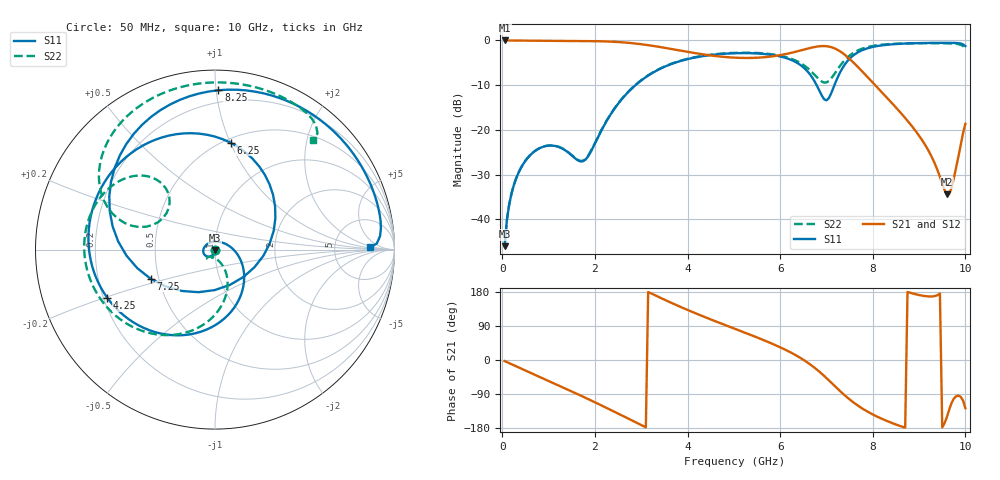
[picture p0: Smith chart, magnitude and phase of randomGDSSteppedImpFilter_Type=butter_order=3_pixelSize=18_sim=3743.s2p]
! freq	dB(S11)	phase(S11)	dB(S12)	phase(S12)
!  dB(S21)	phase(S21)	dB(S22)	phase(S22)
!S-par simulation data
#  GHz  S  DB  R 50
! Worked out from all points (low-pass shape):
!   200 points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, 50 MHz to 10 GHz, reference 50 ohm
!   highest |S21| = -0.01 dB at 50 MHz (marker M1); lowest = -34.5 dB at 9.6 GHz (marker M2)
!   |S21| within 3 dB of the highest: start of sweep to 4.265 GHz; 6.141 GHz to 7.371 GHz (1.23 GHz wide, 18.2 % of centre)
!   lowest |S11| = -46.0 dB at 50 MHz (marker M3), VSWR 1.01, Z = 50 - j0.499 ohm
!   |S11| at or under -10 dB: start of sweep to 2.877 GHz; 6.787 GHz to 7.173 GHz (385.8 MHz wide, 5.53 % of centre)
!   |S22| runs from -46.0 to -0.6 dB; largest |S21 - S12| = 0
!   S11 on the Smith chart (normalised r, x): 50 MHz: 1.00, -0.01; 4.25 GHz: 0.22, -0.20; 6.25 GHz: 0.54, +1.00; 7.25 GHz: 0.45, -0.17; 8.25 GHz: 0.12, +1.01; 10 GHz: 14, +1
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0.05  -46.03 -88.8  -0.01 -2.8  -0.01 -2.8  -46.02 -87.5
0.15  -36.65 -98.7  -0.02 -8.3  -0.02 -8.3  -36.62 -95.0
0.25  -32.35 -106.2  -0.03 -13.8  -0.03 -13.8  -32.31 -100.0
0.6  -25.70 -131.3  -0.06 -33.1  -0.06 -33.1  -25.66 -115.3
1.1  -23.55 -170.4  -0.09 -60.6  -0.09 -60.6  -23.51 -131.9
1.75  -27.01 84.7  -0.13 -97.1  -0.13 -97.1  -26.87 -100.3
2.65  -12.31 -48.2  -0.47 -150.4  -0.47 -150.4  -12.24 -74.5
3.4  -6.39 -103.3  -1.46 164.9  -1.46 164.9  -6.33 -108.2
4.25  -3.65 -155.8  -2.98 119.4  -2.98 119.4  -3.57 -145.8
5.05  -2.86 159.6  -3.87 81.0  -3.87 81.0  -2.77 -176.8
5.75  -3.14 118.6  -3.67 47.1  -3.67 47.1  -3.01 157.6
6.25  -4.41 81.7  -2.75 18.5  -2.75 18.5  -4.13 139.2
6.7  -8.42 27.5  -1.56 -16.3  -1.56 -16.3  -7.22 128.8
7  -13.41 -67.1  -1.30 -47.7  -1.30 -47.7  -9.40 148.8
7.25  -8.09 -155.7  -2.16 -77.0  -2.16 -77.0  -6.31 164.0
7.6  -3.20 146.8  -5.11 -113.5  -5.11 -113.5  -2.66 150.9
7.9  -1.71 115.7  -8.33 -137.1  -8.33 -137.1  -1.45 135.1
8.25  -1.03 88.8  -12.20 -158.1  -12.20 -158.1  -0.90 118.7
8.35  -0.93 82.2  -13.31 -163.2  -13.31 -163.2  -0.82 114.4
9.15  -0.57 39.0  -23.71 168.3  -23.71 168.3  -0.61 82.4
9.6  -0.54 18.7  -34.46 -150.6  -34.46 -150.6  -0.65 64.6
10  -1.27 0.8  -18.67 -127.3  -18.67 -127.3  -1.70 48.2
